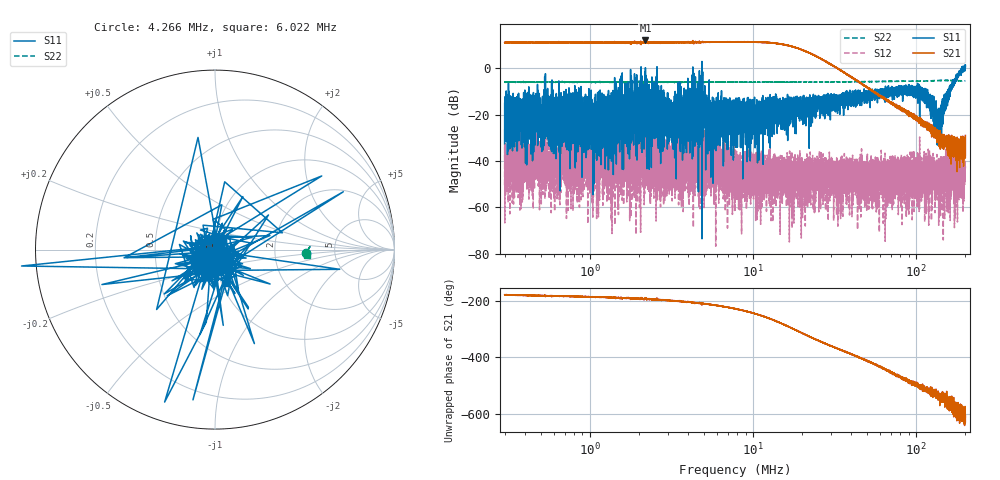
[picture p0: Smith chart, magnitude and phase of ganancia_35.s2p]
# Hz S DB R 50
! CMT, M5065, 19127446, 24.2.4/2
! Date: 11/1/2024 4:35:36 PM
! Data: Format (Calibration Info)
! Freq	S11:dB/Ang(F2)	S21:dB/Ang(F2)	S12:dB/Ang(F2)	S22:dB/Ang(F2)
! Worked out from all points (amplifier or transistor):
!   9000 points, 300 kHz to 200 MHz, reference 50 ohm
!   highest |S21| = 12.1 dB at 2.188 MHz (marker M1)
!   |S21| within 3 dB of that: start of sweep to 18.01 MHz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
!   unconditionally stable (mu >= 1): 2.578 MHz to 4.273 MHz; 4.861 MHz to 188.7 MHz; 188.9 MHz to 190.4 MHz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
!   at 886.8 kHz: K = 9.51, MAG = 12.5 dB, |S12| = -39.4 dB
!   at 7.749 MHz: K = 29.16, MAG = 12.7 dB, |S12| = -49.3 dB
!   at 200 MHz: K = -255.72, MSG = 7.1 dB, |S12| = -43.1 dB
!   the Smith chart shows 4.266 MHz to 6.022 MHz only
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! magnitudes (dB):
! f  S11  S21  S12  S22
! 300 kHz  -32.4  11.2  -50.4  -5.8
! 310.1 kHz  -26.6  11.2  -39.5  -5.9
! 601.2 kHz  -36.7  11.2  -32.4  -6.0
! 645.8 kHz  -16.5  11.2  -51.6  -5.8
! 690.1 kHz  -23.5  11.2  -33.8  -5.9
! 741.8 kHz  -23.5  11.3  -44.1  -5.8
! 886.8 kHz  -23.3  11.2  -39.4  -5.9
! 1.175 MHz  -22.8  11.2  -42.6  -5.9
! 1.379 MHz  -16.0  11.3  -40.3  -5.9
! 2.188 MHz  0.3  12.1  -46.6  -5.9
! 2.621 MHz  -21.7  11.2  -47.9  -5.9
! 3.447 MHz  -13.3  11.4  -40.4  -5.8
! 7.749 MHz  -30.2  11.4  -49.3  -5.9
! 8.469 MHz  -15.3  11.5  -46.7  -5.8
! 15.01 MHz  -20.7  10.4  -57.8  -5.8
! 22.91 MHz  -14.5  6.2  -46.6  -5.8
! 67.71 MHz  -9.3  -14.6  -48.4  -5.5
! 108.8 MHz  -12.9  -23.1  -54.7  -5.4
! 137.2 MHz  -23.4  -30.3  -42.8  -5.2
! 165.7 MHz  -8.2  -32.6  -40.5  -5.2
! 189.3 MHz  -0.7  -39.1  -48.0  -5.3
! 200 MHz  0.7  -28.9  -43.1  -5.3
